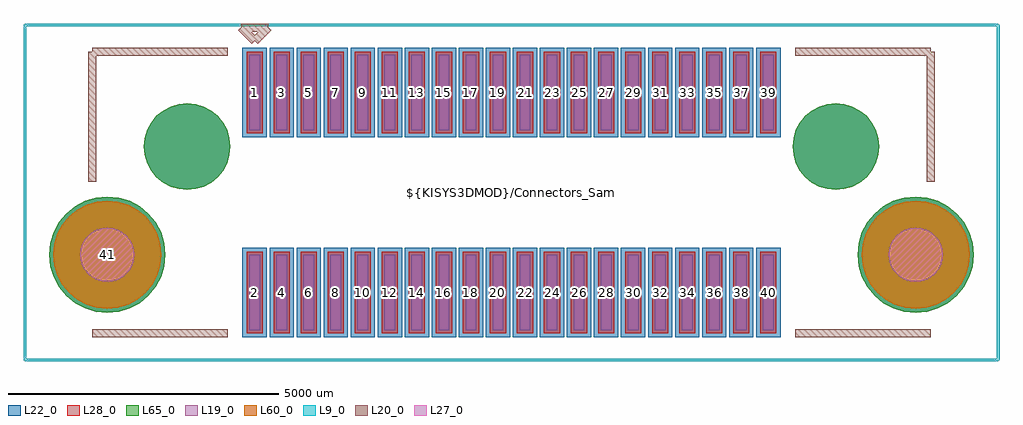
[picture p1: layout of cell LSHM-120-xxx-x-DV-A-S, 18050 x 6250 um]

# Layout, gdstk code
import gdstk
lib = gdstk.Library(unit=1e-6, precision=1e-09)
def R(c, l, rs):  # rectangles x0, y0, x1, y1
    for r in rs: c.add(gdstk.rectangle(r[:2], r[2:], *l))
def A(c, l, x, y, w, h, nx, ny, dx, dy):  # array of equal rectangles
    R(c, l, [(x+i*dx, y+j*dy, x+i*dx+w, y+j*dy+h) for i in range(nx) for j in range(ny)])
def P(c, l, *ps):  # polygons
    for p in ps: c.add(gdstk.Polygon(p, *l))
L9_0 = (9, 0)
L19_0 = (19, 0)
L20_0 = (20, 0)
L22_0 = (22, 0)
L27_0 = (27, 0)
L28_0 = (28, 0)
L60_0 = (60, 0)
L65_0 = (65, 0)

lshm_120_xxx_x_dv_a_s = lib.new_cell('LSHM-120-xxx-x-DV-A-S')
A(lshm_120_xxx_x_dv_a_s, L19_0, -4850, -2550, 200, 1400, 20, 2, 500, 3700)
A(lshm_120_xxx_x_dv_a_s, L22_0, -4975, -2675, 450, 1650, 20, 2, 500, 3700)
P(lshm_120_xxx_x_dv_a_s, L22_0, [(8550,-1150),(8529.344,-940.278),(8468.17,-738.615),(8368.83,-552.762),(8235.14,-389.86),(8072.238,-256.17),(7886.385,-156.83),(7684.722,-95.656),(7475,-75),(7265.278,-95.656),(7063.615,-156.83),(6877.762,-256.17),(6714.86,-389.86),(6581.17,-552.762),(6481.83,-738.615),(6420.656,-940.278),(6400,-1150),(6420.656,-1359.722),(6481.83,-1561.385),(6581.17,-1747.238),(6714.86,-1910.14),(6877.762,-2043.83),(7063.615,-2143.17),(7265.278,-2204.344),(7475,-2225),(7684.722,-2204.344),(7886.385,-2143.17),(8072.238,-2043.83),(8235.14,-1910.14),(8368.83,-1747.238),(8468.17,-1561.385),(8529.344,-1359.722)],
  [(-5200,850),(-5215.372,1006.072),(-5260.896,1156.147),(-5334.824,1294.456),(-5434.315,1415.685),(-5555.544,1515.176),(-5693.853,1589.104),(-5843.928,1634.628),(-6000,1650),(-6156.072,1634.628),(-6306.147,1589.104),(-6444.456,1515.176),(-6565.685,1415.685),(-6665.176,1294.456),(-6739.104,1156.147),(-6784.628,1006.072),(-6800,850),(-6784.628,693.928),(-6739.104,543.853),(-6665.176,405.544),(-6565.685,284.315),(-6444.456,184.824),(-6306.147,110.896),(-6156.072,65.372),(-6000,50),(-5843.928,65.372),(-5693.853,110.896),(-5555.544,184.824),(-5434.315,284.315),(-5334.824,405.544),(-5260.896,543.853),(-5215.372,693.928)],
  [(6800,850),(6784.628,1006.072),(6739.104,1156.147),(6665.176,1294.456),(6565.685,1415.685),(6444.456,1515.176),(6306.147,1589.104),(6156.072,1634.628),(6000,1650),(5843.928,1634.628),(5693.853,1589.104),(5555.544,1515.176),(5434.315,1415.685),(5334.824,1294.456),(5260.896,1156.147),(5215.372,1006.072),(5200,850),(5215.372,693.928),(5260.896,543.853),(5334.824,405.544),(5434.315,284.315),(5555.544,184.824),(5693.853,110.896),(5843.928,65.372),(6000,50),(6156.072,65.372),(6306.147,110.896),(6444.456,184.824),(6565.685,284.315),(6665.176,405.544),(6739.104,543.853),(6784.628,693.928)],
  [(-6400,-1150),(-6420.656,-940.278),(-6481.83,-738.615),(-6581.17,-552.762),(-6714.86,-389.86),(-6877.762,-256.17),(-7063.615,-156.83),(-7265.278,-95.656),(-7475,-75),(-7684.722,-95.656),(-7886.385,-156.83),(-8072.238,-256.17),(-8235.14,-389.86),(-8368.83,-552.762),(-8468.17,-738.615),(-8529.344,-940.278),(-8550,-1150),(-8529.344,-1359.722),(-8468.17,-1561.385),(-8368.83,-1747.238),(-8235.14,-1910.14),(-8072.238,-2043.83),(-7886.385,-2143.17),(-7684.722,-2204.344),(-7475,-2225),(-7265.278,-2204.344),(-7063.615,-2143.17),(-6877.762,-2043.83),(-6714.86,-1910.14),(-6581.17,-1747.238),(-6481.83,-1561.385),(-6420.656,-1359.722)])
P(lshm_120_xxx_x_dv_a_s, L27_0, [(7974.999,-1150),(7965.392,-1052.455),(7936.939,-958.659),(7890.734,-872.215),(7828.553,-796.447),(7752.785,-734.266),(7666.341,-688.061),(7572.545,-659.608),(7475,-650.001),(7377.455,-659.608),(7283.659,-688.061),(7197.215,-734.266),(7121.447,-796.447),(7059.266,-872.215),(7013.061,-958.659),(6984.608,-1052.455),(6975.001,-1150),(6984.608,-1247.545),(7013.061,-1341.341),(7059.266,-1427.785),(7121.447,-1503.553),(7197.215,-1565.734),(7283.659,-1611.939),(7377.455,-1640.392),(7475,-1649.999),(7572.545,-1640.392),(7666.341,-1611.939),(7752.785,-1565.734),(7828.553,-1503.553),(7890.734,-1427.785),(7936.939,-1341.341),(7965.392,-1247.545)],
  [(-6975.001,-1150),(-6984.608,-1052.455),(-7013.061,-958.659),(-7059.266,-872.215),(-7121.447,-796.447),(-7197.215,-734.266),(-7283.659,-688.061),(-7377.455,-659.608),(-7475,-650.001),(-7572.545,-659.608),(-7666.341,-688.061),(-7752.785,-734.266),(-7828.553,-796.447),(-7890.734,-872.215),(-7936.939,-958.659),(-7965.392,-1052.455),(-7974.999,-1150),(-7965.392,-1247.545),(-7936.939,-1341.341),(-7890.734,-1427.785),(-7828.553,-1503.553),(-7752.785,-1565.734),(-7666.341,-1611.939),(-7572.545,-1640.392),(-7475,-1649.999),(-7377.455,-1640.392),(-7283.659,-1611.939),(-7197.215,-1565.734),(-7121.447,-1503.553),(-7059.266,-1427.785),(-7013.061,-1341.341),(-6984.608,-1247.545)])
A(lshm_120_xxx_x_dv_a_s, L28_0, -4900, -2600, 300, 1500, 20, 2, 500, 3700)
P(lshm_120_xxx_x_dv_a_s, L28_0, [(8475,-1150),(8455.785,-954.91),(8398.88,-767.317),(8306.47,-594.43),(8182.107,-442.893),(8030.57,-318.53),(7857.683,-226.12),(7670.09,-169.215),(7475,-150),(7279.91,-169.215),(7092.317,-226.12),(6919.43,-318.53),(6767.893,-442.893),(6643.53,-594.43),(6551.12,-767.317),(6494.215,-954.91),(6475,-1150),(6494.215,-1345.09),(6551.12,-1532.683),(6643.53,-1705.57),(6767.893,-1857.107),(6919.43,-1981.47),(7092.317,-2073.88),(7279.91,-2130.785),(7475,-2150),(7670.09,-2130.785),(7857.683,-2073.88),(8030.57,-1981.47),(8182.107,-1857.107),(8306.47,-1705.57),(8398.88,-1532.683),(8455.785,-1345.09)],
  [(-6475,-1150),(-6494.215,-954.91),(-6551.12,-767.317),(-6643.53,-594.43),(-6767.893,-442.893),(-6919.43,-318.53),(-7092.317,-226.12),(-7279.91,-169.215),(-7475,-150),(-7670.09,-169.215),(-7857.683,-226.12),(-8030.57,-318.53),(-8182.107,-442.893),(-8306.47,-594.43),(-8398.88,-767.317),(-8455.785,-954.91),(-8475,-1150),(-8455.785,-1345.09),(-8398.88,-1532.683),(-8306.47,-1705.57),(-8182.107,-1857.107),(-8030.57,-1981.47),(-7857.683,-2073.88),(-7670.09,-2130.785),(-7475,-2150),(-7279.91,-2130.785),(-7092.317,-2073.88),(-6919.43,-1981.47),(-6767.893,-1857.107),(-6643.53,-1705.57),(-6551.12,-1532.683),(-6494.215,-1345.09)])
P(lshm_120_xxx_x_dv_a_s, L60_0, [(8475,-1150),(8455.785,-954.91),(8398.88,-767.317),(8306.47,-594.43),(8182.107,-442.893),(8030.57,-318.53),(7857.683,-226.12),(7670.09,-169.215),(7475,-150),(7279.91,-169.215),(7092.317,-226.12),(6919.43,-318.53),(6767.893,-442.893),(6643.53,-594.43),(6551.12,-767.317),(6494.215,-954.91),(6475,-1150),(6494.215,-1345.09),(6551.12,-1532.683),(6643.53,-1705.57),(6767.893,-1857.107),(6919.43,-1981.47),(7092.317,-2073.88),(7279.91,-2130.785),(7475,-2150),(7670.09,-2130.785),(7857.683,-2073.88),(8030.57,-1981.47),(8182.107,-1857.107),(8306.47,-1705.57),(8398.88,-1532.683),(8455.785,-1345.09)],
  [(-6475,-1150),(-6494.215,-954.91),(-6551.12,-767.317),(-6643.53,-594.43),(-6767.893,-442.893),(-6919.43,-318.53),(-7092.317,-226.12),(-7279.91,-169.215),(-7475,-150),(-7670.09,-169.215),(-7857.683,-226.12),(-8030.57,-318.53),(-8182.107,-442.893),(-8306.47,-594.43),(-8398.88,-767.317),(-8455.785,-954.91),(-8475,-1150),(-8455.785,-1345.09),(-8398.88,-1532.683),(-8306.47,-1705.57),(-8182.107,-1857.107),(-8030.57,-1981.47),(-7857.683,-2073.88),(-7670.09,-2130.785),(-7475,-2150),(-7279.91,-2130.785),(-7092.317,-2073.88),(-6919.43,-1981.47),(-6767.893,-1857.107),(-6643.53,-1705.57),(-6551.12,-1532.683),(-6494.215,-1345.09)])
P(lshm_120_xxx_x_dv_a_s, L65_0, [(8550,-1150),(8529.344,-940.278),(8468.17,-738.615),(8368.83,-552.762),(8235.14,-389.86),(8072.238,-256.17),(7886.385,-156.83),(7684.722,-95.656),(7475,-75),(7265.278,-95.656),(7063.615,-156.83),(6877.762,-256.17),(6714.86,-389.86),(6581.17,-552.762),(6481.83,-738.615),(6420.656,-940.278),(6400,-1150),(6420.656,-1359.722),(6481.83,-1561.385),(6581.17,-1747.238),(6714.86,-1910.14),(6877.762,-2043.83),(7063.615,-2143.17),(7265.278,-2204.344),(7475,-2225),(7684.722,-2204.344),(7886.385,-2143.17),(8072.238,-2043.83),(8235.14,-1910.14),(8368.83,-1747.238),(8468.17,-1561.385),(8529.344,-1359.722)],
  [(-5200,850),(-5215.372,1006.072),(-5260.896,1156.147),(-5334.824,1294.456),(-5434.315,1415.685),(-5555.544,1515.176),(-5693.853,1589.104),(-5843.928,1634.628),(-6000,1650),(-6156.072,1634.628),(-6306.147,1589.104),(-6444.456,1515.176),(-6565.685,1415.685),(-6665.176,1294.456),(-6739.104,1156.147),(-6784.628,1006.072),(-6800,850),(-6784.628,693.928),(-6739.104,543.853),(-6665.176,405.544),(-6565.685,284.315),(-6444.456,184.824),(-6306.147,110.896),(-6156.072,65.372),(-6000,50),(-5843.928,65.372),(-5693.853,110.896),(-5555.544,184.824),(-5434.315,284.315),(-5334.824,405.544),(-5260.896,543.853),(-5215.372,693.928)],
  [(6800,850),(6784.628,1006.072),(6739.104,1156.147),(6665.176,1294.456),(6565.685,1415.685),(6444.456,1515.176),(6306.147,1589.104),(6156.072,1634.628),(6000,1650),(5843.928,1634.628),(5693.853,1589.104),(5555.544,1515.176),(5434.315,1415.685),(5334.824,1294.456),(5260.896,1156.147),(5215.372,1006.072),(5200,850),(5215.372,693.928),(5260.896,543.853),(5334.824,405.544),(5434.315,284.315),(5555.544,184.824),(5693.853,110.896),(5843.928,65.372),(6000,50),(6156.072,65.372),(6306.147,110.896),(6444.456,184.824),(6565.685,284.315),(6665.176,405.544),(6739.104,543.853),(6784.628,693.928)],
  [(-6400,-1150),(-6420.656,-940.278),(-6481.83,-738.615),(-6581.17,-552.762),(-6714.86,-389.86),(-6877.762,-256.17),(-7063.615,-156.83),(-7265.278,-95.656),(-7475,-75),(-7684.722,-95.656),(-7886.385,-156.83),(-8072.238,-256.17),(-8235.14,-389.86),(-8368.83,-552.762),(-8468.17,-738.615),(-8529.344,-940.278),(-8550,-1150),(-8529.344,-1359.722),(-8468.17,-1561.385),(-8368.83,-1747.238),(-8235.14,-1910.14),(-8072.238,-2043.83),(-7886.385,-2143.17),(-7684.722,-2204.344),(-7475,-2225),(-7265.278,-2204.344),(-7063.615,-2143.17),(-6877.762,-2043.83),(-6714.86,-1910.14),(-6581.17,-1747.238),(-6481.83,-1561.385),(-6420.656,-1359.722)])
lshm_120_xxx_x_dv_a_s.add(gdstk.FlexPath([(7750,-2600),(5250,-2600)], 149.998, ends="flush", simple_path=True, layer=20, datatype=0))  # L20_0
lshm_120_xxx_x_dv_a_s.add(gdstk.FlexPath([(-7750,-2600),(-5250,-2600)], 149.998, ends="flush", simple_path=True, layer=20, datatype=0))  # L20_0
lshm_120_xxx_x_dv_a_s.add(gdstk.FlexPath([(7750,200),(7750,2600)], 149.998, ends="flush", simple_path=True, layer=20, datatype=0))  # L20_0
lshm_120_xxx_x_dv_a_s.add(gdstk.FlexPath([(7750,2600),(5250,2600)], 149.998, ends="flush", simple_path=True, layer=20, datatype=0))  # L20_0
lshm_120_xxx_x_dv_a_s.add(gdstk.FlexPath([(-4750,2800),(-4500,3050)], 149.998, ends="flush", simple_path=True, layer=20, datatype=0))  # L20_0
lshm_120_xxx_x_dv_a_s.add(gdstk.FlexPath([(-4500,3050),(-5000,3050)], 149.998, ends="flush", simple_path=True, layer=20, datatype=0))  # L20_0
lshm_120_xxx_x_dv_a_s.add(gdstk.FlexPath([(-5000,3050),(-4750,2800)], 149.998, ends="flush", simple_path=True, layer=20, datatype=0))  # L20_0
lshm_120_xxx_x_dv_a_s.add(gdstk.FlexPath([(9000,-3100),(9000,3100)], 50, ends="flush", simple_path=True, layer=9, datatype=0))  # L9_0
lshm_120_xxx_x_dv_a_s.add(gdstk.FlexPath([(-9000,-3100),(-9000,3100)], 50, ends="flush", simple_path=True, layer=9, datatype=0))  # L9_0
lshm_120_xxx_x_dv_a_s.add(gdstk.FlexPath([(-9000,3100),(9000,3100)], 50, ends="flush", simple_path=True, layer=9, datatype=0))  # L9_0
lshm_120_xxx_x_dv_a_s.add(gdstk.FlexPath([(-9000,-3100),(9000,-3100)], 50, ends="flush", simple_path=True, layer=9, datatype=0))  # L9_0
lshm_120_xxx_x_dv_a_s.add(gdstk.FlexPath([(-7750,2600),(-5250,2600)], 149.998, ends="flush", simple_path=True, layer=20, datatype=0))  # L20_0
lshm_120_xxx_x_dv_a_s.add(gdstk.FlexPath([(-7750,200),(-7750,2600)], 149.998, ends="flush", simple_path=True, layer=20, datatype=0))  # L20_0
lshm_120_xxx_x_dv_a_s.add(gdstk.Label('${KISYS3DMOD}/Connectors_Samtec.3dshapes/LSHM-120-xxx-x-DV-A-S.wrl', (0,0), layer=12, texttype=0))
lshm_120_xxx_x_dv_a_s.add(gdstk.Label('2', (-4750,-1850), layer=28, texttype=0))
lshm_120_xxx_x_dv_a_s.add(gdstk.Label('1', (-4750,1850), layer=28, texttype=0))
lshm_120_xxx_x_dv_a_s.add(gdstk.Label('3', (-4250,1850), layer=28, texttype=0))
lshm_120_xxx_x_dv_a_s.add(gdstk.Label('4', (-4250,-1850), layer=28, texttype=0))
lshm_120_xxx_x_dv_a_s.add(gdstk.Label('8', (-3250,-1850), layer=28, texttype=0))
lshm_120_xxx_x_dv_a_s.add(gdstk.Label('7', (-3250,1850), layer=28, texttype=0))
lshm_120_xxx_x_dv_a_s.add(gdstk.Label('5', (-3750,1850), layer=28, texttype=0))
lshm_120_xxx_x_dv_a_s.add(gdstk.Label('6', (-3750,-1850), layer=28, texttype=0))
lshm_120_xxx_x_dv_a_s.add(gdstk.Label('14', (-1750,-1850), layer=28, texttype=0))
lshm_120_xxx_x_dv_a_s.add(gdstk.Label('13', (-1750,1850), layer=28, texttype=0))
lshm_120_xxx_x_dv_a_s.add(gdstk.Label('15', (-1250,1850), layer=28, texttype=0))
lshm_120_xxx_x_dv_a_s.add(gdstk.Label('16', (-1250,-1850), layer=28, texttype=0))
lshm_120_xxx_x_dv_a_s.add(gdstk.Label('12', (-2250,-1850), layer=28, texttype=0))
lshm_120_xxx_x_dv_a_s.add(gdstk.Label('11', (-2250,1850), layer=28, texttype=0))
lshm_120_xxx_x_dv_a_s.add(gdstk.Label('9', (-2750,1850), layer=28, texttype=0))
lshm_120_xxx_x_dv_a_s.add(gdstk.Label('10', (-2750,-1850), layer=28, texttype=0))
lshm_120_xxx_x_dv_a_s.add(gdstk.Label('26', (1250,-1850), layer=28, texttype=0))
lshm_120_xxx_x_dv_a_s.add(gdstk.Label('25', (1250,1850), layer=28, texttype=0))
lshm_120_xxx_x_dv_a_s.add(gdstk.Label('27', (1750,1850), layer=28, texttype=0))
lshm_120_xxx_x_dv_a_s.add(gdstk.Label('28', (1750,-1850), layer=28, texttype=0))
lshm_120_xxx_x_dv_a_s.add(gdstk.Label('32', (2750,-1850), layer=28, texttype=0))
lshm_120_xxx_x_dv_a_s.add(gdstk.Label('31', (2750,1850), layer=28, texttype=0))
lshm_120_xxx_x_dv_a_s.add(gdstk.Label('29', (2250,1850), layer=28, texttype=0))
lshm_120_xxx_x_dv_a_s.add(gdstk.Label('30', (2250,-1850), layer=28, texttype=0))
lshm_120_xxx_x_dv_a_s.add(gdstk.Label('22', (250,-1850), layer=28, texttype=0))
lshm_120_xxx_x_dv_a_s.add(gdstk.Label('21', (250,1850), layer=28, texttype=0))
lshm_120_xxx_x_dv_a_s.add(gdstk.Label('23', (750,1850), layer=28, texttype=0))
lshm_120_xxx_x_dv_a_s.add(gdstk.Label('24', (750,-1850), layer=28, texttype=0))
lshm_120_xxx_x_dv_a_s.add(gdstk.Label('20', (-250,-1850), layer=28, texttype=0))
lshm_120_xxx_x_dv_a_s.add(gdstk.Label('19', (-250,1850), layer=28, texttype=0))
lshm_120_xxx_x_dv_a_s.add(gdstk.Label('17', (-750,1850), layer=28, texttype=0))
lshm_120_xxx_x_dv_a_s.add(gdstk.Label('18', (-750,-1850), layer=28, texttype=0))
lshm_120_xxx_x_dv_a_s.add(gdstk.Label('38', (4250,-1850), layer=28, texttype=0))
lshm_120_xxx_x_dv_a_s.add(gdstk.Label('37', (4250,1850), layer=28, texttype=0))
lshm_120_xxx_x_dv_a_s.add(gdstk.Label('39', (4750,1850), layer=28, texttype=0))
lshm_120_xxx_x_dv_a_s.add(gdstk.Label('40', (4750,-1850), layer=28, texttype=0))
lshm_120_xxx_x_dv_a_s.add(gdstk.Label('36', (3750,-1850), layer=28, texttype=0))
lshm_120_xxx_x_dv_a_s.add(gdstk.Label('35', (3750,1850), layer=28, texttype=0))
lshm_120_xxx_x_dv_a_s.add(gdstk.Label('33', (3250,1850), layer=28, texttype=0))
lshm_120_xxx_x_dv_a_s.add(gdstk.Label('34', (3250,-1850), layer=28, texttype=0))
lshm_120_xxx_x_dv_a_s.add(gdstk.Label('41', (-7475,-1150), layer=28, texttype=0))
lshm_120_xxx_x_dv_a_s.add(gdstk.Label('type', (0,-3850), layer=9, texttype=0))
lshm_120_xxx_x_dv_a_s.add(gdstk.Label('devicename', (-6950,3650), layer=9, texttype=0))

lib.write_gds('LSHM-120-xxx-x-DV-A-S.gds')
